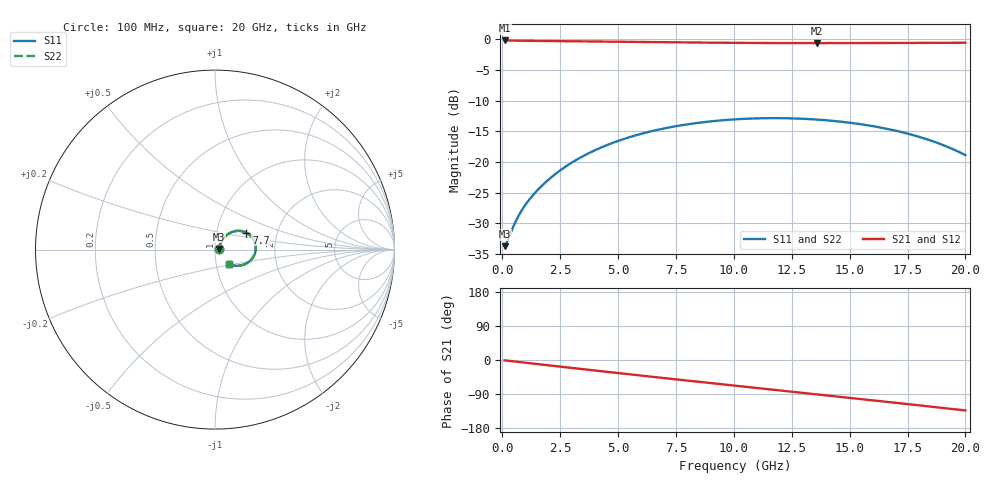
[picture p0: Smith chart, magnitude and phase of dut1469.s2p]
! Touchstone file exported from HFSS 2026.1.0
!  File:  C:/ffzhzh/LocalFiles/Ansys_Project_Files/temp_train_TSV_RDL_1469_1783361411_48288.aedt
!  Generated:  02:18:54 AM Jul  7, 2026
!  Design:  TSV_RDL
!  Project:  temp_train_TSV_RDL_1469_1783361411_48288
! Variables:
!  h_bsmrdl = 2.5um
!  h_ox = 20um
!  h_rdl = 5um
!  h_sub = 51.7um
!  h_tmrdl = 2.59um
!  h_tsv = 51.7um
!  h_via = 3um
!  l_bsmrdl = 134.77um
!  l_sub = 2325.72um
!  l_tmrdl = 356.51um
!  m_sub = 200um
!  pitch = 21.35um
!  r_tsv = 4.68um
!  s_tmrdl = 10um
!  w_bsmrdl = 18.14um
!  w_sub = 500um
!  w_tmrdl = 13.65um
!  x_tsv_center1 = 363.335um
!  x_tsv_center2 = 516.245um
!  x_tsv_center3 = 886.405um
!  x_tsv_center4 = 1039.315um
!  x_tsv_center5 = 1409.475um
!  x_tsv_center6 = 1562.385um
# GHz S MA R 50.000000
! Terminal data exported
! Port[1] = TM_RDL1_1_T1
! Port[2] = TM_RDL5_1_T1
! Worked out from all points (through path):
!   200 points, 100 MHz to 20 GHz, reference 50 ohm
!   highest |S21| = -0.18 dB at 100 MHz (marker M1); lowest = -0.6 dB at 13.6 GHz (marker M2)
!   group delay of S21, straight-line fit = 18.3 ps
!   lowest |S11| = -33.7 dB at 100 MHz (marker M3), VSWR 1.04, Z = 52.1 + j0.428 ohm
!   |S11| at or under -10 dB: start of sweep to end of sweep
!   |S22| runs from -33.7 to -12.9 dB; largest |S21 - S12| = 1.6e-14
!   S11 on the Smith chart (normalised r, x): 100 MHz: 1.04, +0.01; 7.7 GHz: 1.39, +0.27; 20 GHz: 1.16, -0.19
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0.1  0.02054 11.5  0.9799 -0.8  0.9799 -0.8  0.02054 11.5
! Gamma 0 0 0 0
! Port Impedance 50 0 50 0
0.2  0.02222 21.4  0.9795 -1.5  0.9795 -1.5  0.02222 21.4
0.5  0.03036 38.3  0.9772 -3.7  0.9772 -3.7  0.03036 38.3
0.7  0.03626 43.3  0.9756 -5.2  0.9756 -5.2  0.03626 43.3
1  0.04474 47.5  0.9735 -7.2  0.9735 -7.2  0.04474 47.5
1.3  0.05291 50.0  0.972 -9.3  0.972 -9.3  0.05291 49.9
1.8  0.06638 52.0  0.97 -12.7  0.97 -12.7  0.06638 52.0
2.3  0.07989 52.5  0.9681 -16.1  0.9681 -16.1  0.07989 52.5
2.9  0.09602 51.7  0.9659 -20.2  0.9659 -20.2  0.09602 51.7
3.5  0.1118 50.0  0.9636 -24.3  0.9636 -24.3  0.1118 50.0
5  0.1484 43.4  0.957 -34.5  0.957 -34.5  0.1484 43.4
6.8  0.1844 33.6  0.9486 -46.5  0.9486 -46.5  0.1844 33.6
7.7  0.1986 28.3  0.9448 -52.4  0.9448 -52.4  0.1986 28.3
8.9  0.2133 21.2  0.9402 -60.3  0.9402 -60.3  0.2133 21.2
10.1  0.2229 14.0  0.9366 -68.1  0.9366 -68.1  0.2229 14.0
11.8  0.2277 3.7  0.9333 -79.1  0.9333 -79.1  0.2277 3.7
13.4  0.2228 -6.0  0.9322 -89.5  0.9322 -89.5  0.2228 -6.0
13.6  0.2216 -7.3  0.9322 -90.8  0.9322 -90.8  0.2216 -7.3
15.2  0.2067 -17.0  0.9329 -101.2  0.9329 -101.2  0.2066 -17.0
16.7  0.1849 -26.2  0.9346 -111.0  0.9346 -111.0  0.1848 -26.2
18.5  0.1495 -37.0  0.937 -123.0  0.937 -123.0  0.1495 -37.0
20  0.1136 -45.7  0.9384 -133.1  0.9384 -133.1  0.1136 -45.7
